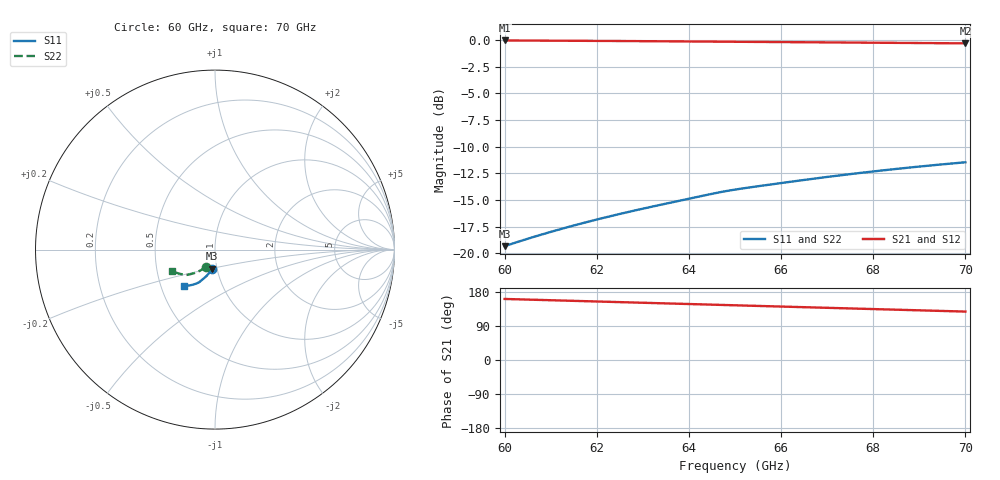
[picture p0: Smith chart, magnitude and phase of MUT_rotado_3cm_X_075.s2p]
! TOUCHSTONE file generated by CST MICROWAVE STUDIO
! Date and time: Sat Feb 17 14:30:02 2024
! Project name: MUT_rotado.cst
! Parameters = {AngX=0.75}
! Header version: 2018
! Port assignment regex: !\s*Touchstone port\s*([0-9]+)\s*=\s*(CST MWS port|CST DS port)\s*([0-9]+|Zmin|Zmax)\s*\(\"(.*)\"\)(\s*mode\s*([0-9]+))?.*
! Touchstone port assignment:
! Touchstone port 1 = CST MWS port 1 ("")
! Touchstone port 2 = CST MWS port 2 ("")
# GHz S MA R 376.7
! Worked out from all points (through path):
!   1001 points, 60 GHz to 70 GHz, reference 376.7 ohm
!   highest |S21| = -0.05 dB at 60 GHz (marker M1); lowest = -0.3 dB at 70 GHz (marker M2)
!   group delay of S21, straight-line fit = 9.2 ps
!   lowest |S11| = -19.3 dB at 60 GHz (marker M3), VSWR 1.24, Z = 356 - j76.7 ohm
!   |S11| at or under -10 dB: start of sweep to end of sweep
!   |S22| runs from -19.3 to -11.5 dB; largest |S21 - S12| = 0.00092
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60  0.1081 -99.5  0.9942 161.1  0.9941 161.1  0.108 -118.4
60.05  0.109 -99.6  0.9941 160.9  0.994 160.9  0.1089 -118.5
60.45  0.1162 -100.9  0.9933 159.6  0.9933 159.6  0.116 -119.9
60.87  0.1237 -102.2  0.9924 158.1  0.9924 158.1  0.1236 -121.4
61.26  0.1307 -103.5  0.9915 156.8  0.9915 156.8  0.1306 -122.8
61.67  0.1381 -104.8  0.9904 155.4  0.9905 155.4  0.138 -124.3
62.06  0.1451 -106.1  0.9894 154.1  0.9894 154.1  0.1451 -125.7
62.46  0.1523 -107.4  0.9883 152.8  0.9883 152.8  0.1524 -127.1
63.34  0.168 -110.5  0.9857 149.8  0.9856 149.8  0.1685 -130.3
63.94  0.1791 -112.5  0.9839 147.8  0.9837 147.8  0.1796 -132.4
64.54  0.1909 -114.4  0.9819 145.8  0.9817 145.9  0.1906 -134.4
64.77  0.1951 -114.9  0.9811 145.1  0.981 145.1  0.1948 -135.2
65  0.1989 -115.4  0.9804 144.3  0.9802 144.3  0.1989 -135.9
65.37  0.2044 -116.4  0.9791 143.1  0.979 143.1  0.2053 -137.0
65.71  0.2093 -117.4  0.978 142.0  0.9779 142.0  0.2105 -138.0
66.14  0.2155 -118.8  0.9765 140.6  0.9765 140.6  0.2163 -139.3
66.67  0.2233 -120.5  0.9747 138.9  0.9748 138.9  0.2231 -141.3
67.51  0.2353 -123.2  0.9718 136.1  0.9721 136.1  0.2346 -144.6
68.34  0.2466 -125.8  0.969 133.4  0.9695 133.3  0.2461 -147.7
69.22  0.2578 -128.5  0.9662 130.5  0.9666 130.4  0.2576 -150.9
69.95  0.2666 -130.7  0.9637 127.9  0.9639 127.9  0.2666 -153.4
70  0.2671 -130.9  0.9636 127.8  0.9637 127.8  0.2672 -153.6
